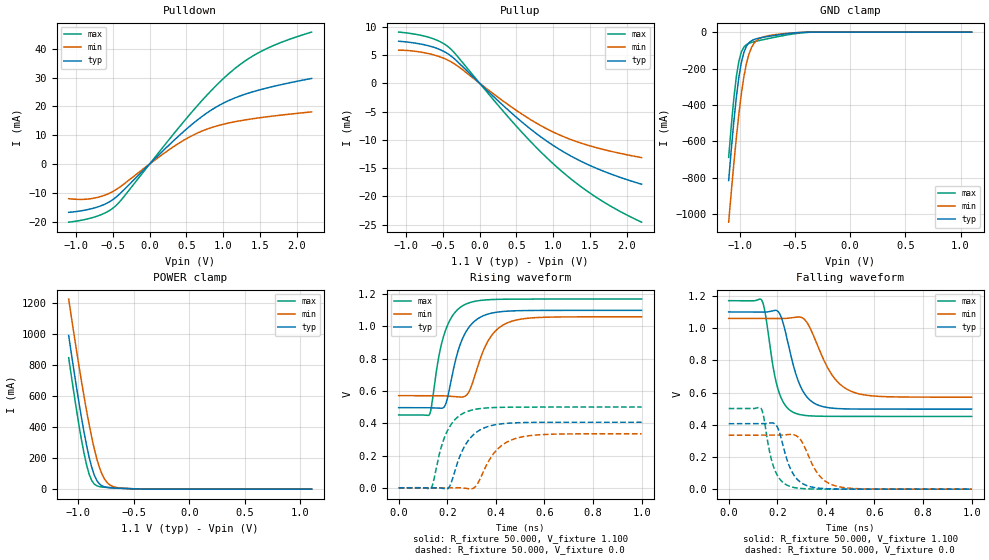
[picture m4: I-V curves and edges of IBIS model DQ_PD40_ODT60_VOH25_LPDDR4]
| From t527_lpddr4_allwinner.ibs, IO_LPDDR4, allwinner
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|   Model DQ_PD40_ODT60_VOH25_LPDDR4
[Model] DQ_PD40_ODT60_VOH25_LPDDR4
Model_type I/O
Polarity   Non-Inverting
Enable   Active-Low
Vinl =  0.550V
Vinh =  0.550V
C_comp   1.592pF   1.554pF   1.650pF
C_comp_pullup   0.528pF   0.509pF   0.551pF
C_comp_pulldown   0.800pF   0.773pF   0.836pF
[Model Spec]
Vinh   0.550V   0.530V   0.585V
Vinl   0.550V   0.530V   0.585V
[Temperature Range]   25.000   0.125k   -40.000
[Voltage Range]   1.100V   1.060V   1.170V
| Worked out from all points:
|   slope of the pulldown table from 0 to 0.165 V, typ, clamps not added: 39.6 ohm
|   slope of the pullup table from 0 to 0.165 V, typ, clamps not added: 80.1 ohm
|   GND clamp passes 1 mA (typ) near -0.41 V on its own axis
|   POWER clamp passes 1 mA (typ) near -0.43 V on its own axis
|   rising waveform, R_fixture 50.000, V_fixture 1.100: 20-80 % time 72.3ps typ, 84ps min, 63ps max; typ from 0.497 V to 1.1 V
|   rising waveform, R_fixture 50.000, V_fixture 0.0: 20-80 % time 78.4ps typ, 90.6ps min, 67.7ps max; typ from 0 V to 0.406 V
|   falling waveform, R_fixture 50.000, V_fixture 1.100: 20-80 % time 69.3ps typ, 100ps min, 51.1ps max; typ from 1.1 V to 0.497 V
|   falling waveform, R_fixture 50.000, V_fixture 0.0: 20-80 % time 56.9ps typ, 73ps min, 45.7ps max; typ from 0.406 V to 0 V
[Pulldown]
|Voltage   I(typ)   I(min)   I(max)
-1.1V     -16.79mA   -12.06mA   -20.22mA
-930mV    -16.27mA   -12.3mA    -19.55mA
-760mV    -15.34mA   -11.9mA    -18.51mA
-590mV    -13.74mA   -10.65mA   -16.81mA
-454mV    -11.47mA   -8.859mA   -14.37mA
396mV     9.766mA    7.199mA    12.65mA
668mV     15.67mA    10.97mA    20.83mA
940mV     20.31mA    13.41mA    28.18mA
1.212V    23.49mA    14.94mA    34.25mA
1.484V    25.69mA    16.03mA    38.73mA
1.79V     27.6mA     17mA       42.29mA
2.2V      29.73mA    18.11mA    45.84mA
[Pullup]
|Voltage   I(typ)   I(min)   I(max)
-1.1V     7.428mA    5.851mA    9.045mA
-690mV    6.608mA    5.228mA    8.118mA
-520mV    5.839mA    4.581mA    7.239mA
-418mV    5.091mA    3.997mA    6.347mA
-282mV    3.584mA    2.878mA    4.448mA
466mV     -5.65mA    -4.511mA   -7.12mA
738mV     -8.578mA   -6.799mA   -10.94mA
1.01V     -11.09mA   -8.694mA   -14.37mA
1.282V    -13.17mA   -10.16mA   -17.36mA
1.554V    -14.86mA   -11.28mA   -19.91mA
1.86V     -16.42mA   -12.26mA   -22.33mA
2.2V      -17.86mA   -13.16mA   -24.57mA
[GND_clamp]
|Voltage   I(typ)   I(min)   I(max)
-1.1V     -814.3mA   -1.043A    -687.3mA
-1.054V   -495.2mA   -726.8mA   -368.6mA
-1.031V   -359.9mA   -582mA     -246.8mA
-1.008V   -249mA     -451mA     -160.6mA
-985mV    -166.3mA   -337.4mA   -109.1mA
-962mV    -111mA     -244.1mA   -82.21mA
-939mV    -77.52mA   -172.2mA   -68.77mA
-893mV    -47.38mA   -84.61mA   -56.67mA
-847mV    -36.3mA    -46.06mA   -49.6mA
-709mV    -20.71mA   -16.6mA    -31.62mA
-364mV    -364.7uA   -458uA     -980.4uA
1.1V      0A         0A         0A
[POWER_clamp]
|Voltage   I(typ)   I(min)   I(max)
-1.085V   991.5mA    1.227A     848.5mA
-1.016V   664.1mA    901.8mA    518.1mA
-970mV    462mA      696.7mA    319.4mA
-924mV    282.7mA    505.5mA    156.2mA
-901mV    206.2mA    417.2mA    96.77mA
-855mV    91.54mA    261mA      33.12mA
-809mV    34.38mA    141.1mA    16.54mA
-763mV    15.18mA    65.46mA    12.33mA
-717mV    9.405mA    28.28mA    10.15mA
-625mV    5.457mA    7.413mA    6.614mA
-441mV    1.152mA    1.562mA    1.233mA
1.1V      0A         0A         0A
[Ramp]
| variable   typ   min   max
dV/dt_r   0.244/78.366p   0.201/90.588p   0.300/67.716p
dV/dt_f   0.362/69.385p   0.293/0.100n   0.431/51.244p
R_load = 50.000
[Rising Waveform]
R_fixture= 50.000
V_fixture= 1.100
V_fixture_min= 1.060
V_fixture_max= 1.170
|time   V(typ)   V(min)   V(max)
0s        496.7mV    571.1mV    451.6mV
127ps     496.4mV    571.1mV    455.1mV
164ps     493.1mV    570.6mV    803.4mV
189ps     505.1mV    569.9mV    959.4mV
240ps     825.5mV    563.6mV    1.101V
274ps     959.2mV    568.6mV    1.137V
296ps     1.008V     616.8mV    1.15V
368ps     1.077V     910.6mV    1.166V
443ps     1.095V     1.019V     1.169V
1ns       1.1V       1.06V      1.17V
[Rising Waveform]
R_fixture= 50.000
V_fixture= 0.0
V_fixture_min= 0.0
V_fixture_max= 0.0
|time   V(typ)   V(min)   V(max)
0s        2.033uV    51.15uV    145.4nV
133ps     499.1uV    142.5uV    -3.095mV
173ps     -1.483mV   59.67uV    240.9mV
200ps     -7.347mV   423.4uV    351.5mV
238ps     136.7mV    466.5uV    432.2mV
287ps     293.8mV    -6.196mV   475.6mV
321ps     345.1mV    16.82mV    488.1mV
403ps     392.2mV    233.5mV    498.1mV
478ps     402.7mV    304mV      499.9mV
1ns       406.3mV    335mV      500.4mV
[Falling Waveform]
R_fixture= 50.000
V_fixture= 1.100
V_fixture_min= 1.060
V_fixture_max= 1.170
|time   V(typ)   V(min)   V(max)
0s        1.1V       1.06V      1.17V
136ps     1.099V     1.06V      1.173V
202ps     1.105V     1.059V     626.4mV
224ps     1.032V     1.059V     541.7mV
269ps     753.3mV    1.066V     474.8mV
303ps     615.7mV    1.064V     460mV
342ps     543.7mV    978.2mV    454.4mV
422ps     503.6mV    717.1mV    452mV
502ps     497.8mV    609mV      451.6mV
1ns       496.8mV    571.1mV    451.6mV
[Falling Waveform]
R_fixture= 50.000
V_fixture= 0.0
V_fixture_min= 0.0
V_fixture_max= 0.0
|time   V(typ)   V(min)   V(max)
0s        406.3mV    335mV      500.4mV
133ps     405.9mV    334.9mV    501.6mV
187ps     407.9mV    334.7mV    129.8mV
207ps     362mV      335.1mV    69.55mV
254ps     127.5mV    339.7mV    16.31mV
287ps     54.06mV    322.2mV    5.948mV
313ps     27.55mV    261.1mV    2.709mV
369ps     6.524mV    91.88mV    483.4uV
437ps     1.146mV    21.41mV    60.72uV
1ns       2.041uV    51.36uV    147.9nV
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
